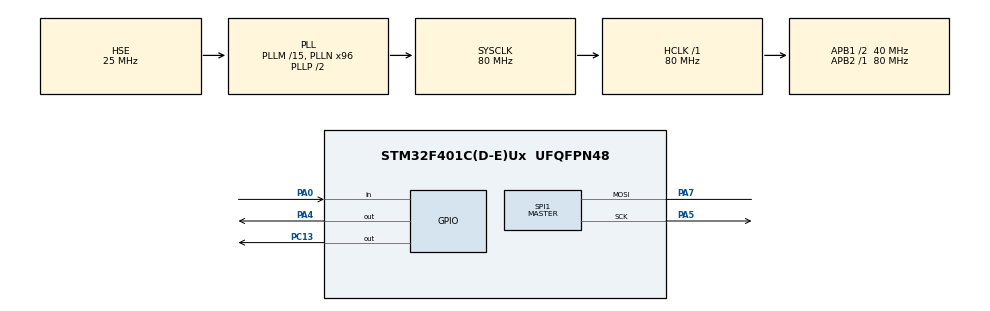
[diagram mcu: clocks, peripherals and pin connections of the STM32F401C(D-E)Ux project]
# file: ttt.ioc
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Mcu.Family=STM32F4
Mcu.Name=STM32F401C(D-E)Ux
Mcu.Package=UFQFPN48
NVIC.PriorityGroup=NVIC_PRIORITYGROUP_4
PA0-WKUP.GPIO_PuPd=GPIO_PULLUP
PA0-WKUP.Signal=GPIO_Input
PA13.Mode=Serial_Wire
PA13.Signal=SYS_JTMS-SWDIO
PA14.Mode=Serial_Wire
PA14.Signal=SYS_JTCK-SWCLK
PA4.Signal=GPIO_Output
PA5.Mode=Simplex_Bidirectional_Master
PA5.Signal=SPI1_SCK
PA6.Signal=SPI1_MISO
PA7.Mode=Simplex_Bidirectional_Master
PA7.Signal=SPI1_MOSI
PC13-ANTI_TAMP.Signal=GPIO_Output
PH0\ -\ OSC_IN.Mode=HSE-External-Oscillator
PH0\ -\ OSC_IN.Signal=RCC_OSC_IN
PH1\ -\ OSC_OUT.Mode=HSE-External-Oscillator
PH1\ -\ OSC_OUT.Signal=RCC_OSC_OUT
ProjectManager.HeapSize=0x200
ProjectManager.StackSize=0x400
ProjectManager.TargetToolchain=STM32CubeIDE
RCC.48MHZClocksFreq_Value=40000000
RCC.AHBFreq_Value=80000000
RCC.APB1CLKDivider=RCC_HCLK_DIV2
RCC.APB1Freq_Value=40000000
RCC.APB1TimFreq_Value=80000000
RCC.APB2Freq_Value=80000000
RCC.APB2TimFreq_Value=80000000
RCC.CortexFreq_Value=80000000
RCC.HCLKFreq_Value=80000000
RCC.HSE_VALUE=25000000
RCC.HSI_VALUE=16000000
RCC.LSE_VALUE=32768
RCC.PLLM=15
RCC.PLLN=96
RCC.PLLSourceVirtual=RCC_PLLSOURCE_HSE
RCC.SYSCLKFreq_VALUE=80000000
RCC.SYSCLKSource=RCC_SYSCLKSOURCE_PLLCLK
RCC.VCOOutputFreq_Value=160000000
SPI1.BaudRatePrescaler=SPI_BAUDRATEPRESCALER_8
SPI1.CLKPolarity=SPI_POLARITY_HIGH
SPI1.DataSize=SPI_DATASIZE_16BIT
SPI1.Direction=SPI_DIRECTION_1LINE
SPI1.Mode=SPI_MODE_MASTER
SPI1.VirtualType=VM_MASTER
board=custom

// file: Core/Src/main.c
/* USER CODE BEGIN Header */
/**
  ******************************************************************************
  * @file           : main.c
  * @brief          : Main program body
  ******************************************************************************
  * @attention
  *
  * Copyright (c) 2024 STMicroelectronics.
  * All rights reserved.
  *
  * This software is licensed under terms that can be found in the LICENSE file
  * in the root directory of this software component.
  * If no LICENSE file comes with this software, it is provided AS-IS.
  *
  ******************************************************************************
  */
/* USER CODE END Header */
#include "main.h"

/* USER CODE BEGIN PD */
#define HIGH	0
#define LOW		1
/* USER CODE END PD */

SPI_HandleTypeDef hspi1;

void SystemClock_Config(void);
static void MX_GPIO_Init(void);

static void MX_SPI1_Init(void);
/* USER CODE BEGIN PFP */
void Dotmatrix_init(void);
void Spi_tranfer(uint8_t addr,uint8_t data);

/* USER CODE END PFP */

/* USER CODE BEGIN 0 */
const uint8_t Name[8][8] = {
	  { 0xff, 0x81, 0x81, 0xff, 0x80, 0x80, 0x80, 0x80 },  //p
	  { 0x18, 0x24, 0x42, 0x81, 0xff, 0x81, 0x81, 0x81 },  //a
	  { 0x82, 0x84, 0x88, 0x90, 0xe0, 0xa0, 0x98, 0x84 },  //k
	  { 0x18, 0x24, 0x42, 0x81, 0xff, 0x81, 0x81, 0x81 },  //a
	  { 0xff, 0x81, 0x81, 0xff, 0x80, 0x80, 0x80, 0x80 },  //p
	  { 0x7e, 0x81, 0x81, 0x81, 0x81, 0x81, 0x81, 0x7e },  //o
	  { 0x80, 0x80, 0x80, 0x80, 0x80, 0x80, 0x80, 0xff },  //L
	  { 0x00, 0x00, 0x00, 0x00, 0x00, 0x00, 0x00, 0x00 } // space
	};
uint8_t Scrolltextrow[8] = {0};

/* USER CODE END 0 */

int main(void)
{

  /* MCU Configuration--------------------------------------------------------*/

  /* Reset of all peripherals, Initializes the Flash interface and the Systick. */
  HAL_Init();

  /* Configure the system clock */
  SystemClock_Config();

  /* Initialize all configured peripherals */
  MX_GPIO_Init();
  MX_SPI1_Init();
  /* USER CODE BEGIN 2 */
  Dotmatrix_init();

  /* USER CODE END 2 */

  /* Infinite loop */
  while (1)
  {

    /* USER CODE BEGIN 3 */
	  for (uint8_t k = 0; k <= 7; k++) {//change character
	      for (uint8_t i = 0; i < 8; i++) {//shift bit
	        for (uint8_t j = 0; j < 8; j++) {//print row
	          Scrolltextrow[j] = ((Scrolltextrow[j] << 1) | (Name[k][j] >> (7 - i)));//& 0xFF
	          Spi_tranfer((0x01 + j), Scrolltextrow[j]);
	        }
	        HAL_Delay(100);
	      }
	    }
  }
  /* USER CODE END 3 */
}

void SystemClock_Config(void)
{
  RCC_OscInitTypeDef RCC_OscInitStruct = {0};
  RCC_ClkInitTypeDef RCC_ClkInitStruct = {0};

  /** Configure the main internal regulator output voltage
  */
  __HAL_RCC_PWR_CLK_ENABLE();
  __HAL_PWR_VOLTAGESCALING_CONFIG(PWR_REGULATOR_VOLTAGE_SCALE2);

  /** Initializes the RCC Oscillators according to the specified parameters
  * in the RCC_OscInitTypeDef structure.
  */
  RCC_OscInitStruct.OscillatorType = RCC_OSCILLATORTYPE_HSE;
  RCC_OscInitStruct.HSEState = RCC_HSE_ON;
  RCC_OscInitStruct.PLL.PLLState = RCC_PLL_ON;
  RCC_OscInitStruct.PLL.PLLSource = RCC_PLLSOURCE_HSE;
  RCC_OscInitStruct.PLL.PLLM = 15;
  RCC_OscInitStruct.PLL.PLLN = 96;
  RCC_OscInitStruct.PLL.PLLP = RCC_PLLP_DIV2;
  RCC_OscInitStruct.PLL.PLLQ = 4;
  if (HAL_RCC_OscConfig(&RCC_OscInitStruct) != HAL_OK)
  {
    Error_Handler();
  }

  /** Initializes the CPU, AHB and APB buses clocks
  */
  RCC_ClkInitStruct.ClockType = RCC_CLOCKTYPE_HCLK|RCC_CLOCKTYPE_SYSCLK
                              |RCC_CLOCKTYPE_PCLK1|RCC_CLOCKTYPE_PCLK2;
  RCC_ClkInitStruct.SYSCLKSource = RCC_SYSCLKSOURCE_PLLCLK;
  RCC_ClkInitStruct.AHBCLKDivider = RCC_SYSCLK_DIV1;
  RCC_ClkInitStruct.APB1CLKDivider = RCC_HCLK_DIV2;
  RCC_ClkInitStruct.APB2CLKDivider = RCC_HCLK_DIV1;

  if (HAL_RCC_ClockConfig(&RCC_ClkInitStruct, FLASH_LATENCY_2) != HAL_OK)
  {
    Error_Handler();
  }
}

static void MX_SPI1_Init(void)
{

  /* SPI1 parameter configuration*/
  hspi1.Instance = SPI1;
  hspi1.Init.Mode = SPI_MODE_MASTER;
  hspi1.Init.Direction = SPI_DIRECTION_1LINE;
  hspi1.Init.DataSize = SPI_DATASIZE_16BIT;
  hspi1.Init.CLKPolarity = SPI_POLARITY_HIGH;
  hspi1.Init.CLKPhase = SPI_PHASE_1EDGE;
  hspi1.Init.NSS = SPI_NSS_SOFT;
  hspi1.Init.BaudRatePrescaler = SPI_BAUDRATEPRESCALER_8;
  hspi1.Init.FirstBit = SPI_FIRSTBIT_MSB;
  hspi1.Init.TIMode = SPI_TIMODE_DISABLE;
  hspi1.Init.CRCCalculation = SPI_CRCCALCULATION_DISABLE;
  hspi1.Init.CRCPolynomial = 10;
  if (HAL_SPI_Init(&hspi1) != HAL_OK)
  {
    Error_Handler();
  }

}

static void MX_GPIO_Init(void)
{
  GPIO_InitTypeDef GPIO_InitStruct = {0};

  /* GPIO Ports Clock Enable */
  __HAL_RCC_GPIOC_CLK_ENABLE();
  __HAL_RCC_GPIOH_CLK_ENABLE();
  __HAL_RCC_GPIOA_CLK_ENABLE();

  /*Configure GPIO pin Output Level */
  HAL_GPIO_WritePin(GPIOC, GPIO_PIN_13, GPIO_PIN_RESET);

  /*Configure GPIO pin Output Level */
  HAL_GPIO_WritePin(GPIOA, GPIO_PIN_4, GPIO_PIN_RESET);

  /*Configure GPIO pin : PC13 */
  GPIO_InitStruct.Pin = GPIO_PIN_13;
  GPIO_InitStruct.Mode = GPIO_MODE_OUTPUT_PP;
  GPIO_InitStruct.Pull = GPIO_NOPULL;
  GPIO_InitStruct.Speed = GPIO_SPEED_FREQ_LOW;
  HAL_GPIO_Init(GPIOC, &GPIO_InitStruct);

  /*Configure GPIO pin : PA0 */
  GPIO_InitStruct.Pin = GPIO_PIN_0;
  GPIO_InitStruct.Mode = GPIO_MODE_INPUT;
  GPIO_InitStruct.Pull = GPIO_PULLUP;
  HAL_GPIO_Init(GPIOA, &GPIO_InitStruct);

  /*Configure GPIO pin : PA4 */
  GPIO_InitStruct.Pin = GPIO_PIN_4;
  GPIO_InitStruct.Mode = GPIO_MODE_OUTPUT_PP;
  GPIO_InitStruct.Pull = GPIO_NOPULL;
  GPIO_InitStruct.Speed = GPIO_SPEED_FREQ_LOW;
  HAL_GPIO_Init(GPIOA, &GPIO_InitStruct);

}

/* USER CODE BEGIN 4 */
void Spi_tranfer(uint8_t addr,uint8_t data){
	uint16_t writedata = (addr<<8)|data;
	HAL_GPIO_WritePin(GPIOA, GPIO_PIN_4,0);
	HAL_SPI_Transmit(&hspi1, (uint8_t*)&writedata,1,100);
	HAL_GPIO_WritePin(GPIOA, GPIO_PIN_4,1);
}

void Dotmatrix_init(void){
	Spi_tranfer(0x0C, 0x00);  //shutdown
	Spi_tranfer(0x09, 0x00);  //set no decode
	Spi_tranfer(0x0A, 0x01);  //set intensity  3/32
	Spi_tranfer(0x0B, 0x07);  //scanlimit display digit0-7
	Spi_tranfer(0x0C, 0x01);  //normal operation
}

/* USER CODE END 4 */

void Error_Handler(void)
{
  __disable_irq();
  while (1)
  {
  }
}
